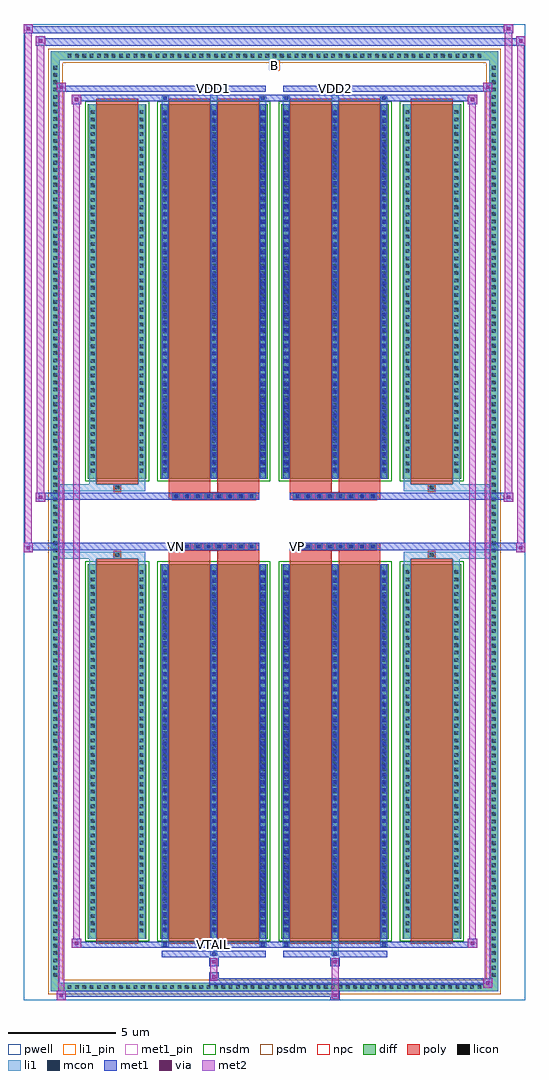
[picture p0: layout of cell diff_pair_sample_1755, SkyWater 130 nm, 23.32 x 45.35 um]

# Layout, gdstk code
import gdstk
lib = gdstk.Library(unit=1e-6, precision=5e-09)
def R(c, l, rs):  # rectangles x0, y0, x1, y1
    for r in rs: c.add(gdstk.rectangle(r[:2], r[2:], *l))
def A(c, l, x, y, w, h, nx, ny, dx, dy):  # array of equal rectangles
    R(c, l, [(x+i*dx, y+j*dy, x+i*dx+w, y+j*dy+h) for i in range(nx) for j in range(ny)])
def P(c, l, *ps):  # polygons
    for p in ps: c.add(gdstk.Polygon(p, *l))
pwell = (64, 44)
diff = (65, 20)
poly = (66, 20)
licon = (66, 44)
li1_pin = (67, 16)
li1 = (67, 20)
mcon = (67, 44)
met1_pin = (68, 16)
met1 = (68, 20)
via = (68, 44)
met2 = (69, 20)
nsdm = (93, 44)
psdm = (94, 20)
npc = (95, 20)

diff_pair_sample_1755 = lib.new_cell('diff_pair_sample_1755')
R(diff_pair_sample_1755, pwell, [(-11.66,-22.24,11.66,23.11), (-8.98,-20.43,-0.01,-0.805), (0.01,-20.43,8.98,-0.805), (-8.98,0.805,-0.01,20.43), (0.01,0.805,8.98,20.43)])
A(diff_pair_sample_1755, diff, -9.725, -21.84, 0.41, 0.41, 57, 2, 0.34, 43.27)
A(diff_pair_sample_1755, diff, -10.39, -21.285, 0.41, 0.41, 1, 125, 0, 0.34)
A(diff_pair_sample_1755, diff, 9.98, -21.285, 0.41, 0.41, 1, 125, 0, 0.34)
R(diff_pair_sample_1755, diff, [(-9.725,-21.84,9.725,-21.43), (-10.39,-21.285,-9.98,21.285), (9.98,-21.285,10.39,21.285), (-8.67,-19.385,-5.95,-1.985), (-5.31,-19.385,-0.32,-1.985), (0.32,-19.385,5.31,-1.985), (5.95,-19.385,8.67,-1.985), (-8.67,1.985,-5.95,19.385), (-5.31,1.985,-0.32,19.385), (0.32,1.985,5.31,19.385), (5.95,1.985,8.67,19.385), (-9.725,21.43,9.725,21.84)])
P(diff_pair_sample_1755, diff, [(10.39,21.84),(-10.39,21.84),(-10.39,-21.43),(-9.98,-21.43),(-9.98,21.43),(9.98,21.43),(9.98,-21.43),(-9.98,-21.43),(-10.39,-21.43),(-10.39,-21.84),(10.39,-21.84)])
A(diff_pair_sample_1755, poly, -4.73, -1.335, 0.33, 0.33, 8, 2, 0.5, 2.34)
A(diff_pair_sample_1755, poly, 0.9, -1.335, 0.33, 0.33, 8, 2, 0.5, 2.34)
R(diff_pair_sample_1755, poly, [(-8.28,-19.635,-6.34,-1.735), (-4.92,-19.635,-2.98,-1.735), (-2.65,-19.635,-0.71,-1.735), (0.71,-19.635,2.65,-1.735), (2.98,-19.635,4.92,-1.735), (6.34,-19.635,8.28,-1.735), (-7.475,-1.735,-7.145,-1.405), (-7.475,-1.735,-7.145,-1.405), (-4.92,-1.735,-2.98,-1.335), (-2.65,-1.735,-0.71,-1.335), (0.71,-1.735,2.65,-1.335), (2.98,-1.735,4.92,-1.335), (7.145,-1.735,7.475,-1.405), (7.145,-1.735,7.475,-1.405), (-4.92,-1.335,-0.71,-1.005), (0.71,-1.335,4.92,-1.005), (-4.92,1.005,-0.71,1.335), (0.71,1.005,4.92,1.335), (-4.92,1.335,-2.98,1.735), (-2.65,1.335,-0.71,1.735), (0.71,1.335,2.65,1.735), (2.98,1.335,4.92,1.735), (-7.475,1.405,-7.145,1.735), (-7.475,1.405,-7.145,1.735), (7.145,1.405,7.475,1.735), (7.145,1.405,7.475,1.735), (-8.28,1.735,-6.34,19.635), (-4.92,1.735,-2.98,19.635), (-2.65,1.735,-0.71,19.635), (0.71,1.735,2.65,19.635), (2.98,1.735,4.92,19.635), (6.34,1.735,8.28,19.635)])
A(diff_pair_sample_1755, licon, -9.605, -21.72, 0.17, 0.17, 57, 2, 0.34, 43.27)
A(diff_pair_sample_1755, licon, -10.27, -21.165, 0.17, 0.17, 1, 125, 0, 0.34)
A(diff_pair_sample_1755, licon, 10.1, -21.165, 0.17, 0.17, 1, 125, 0, 0.34)
A(diff_pair_sample_1755, licon, -8.53, -19.1, 0.17, 0.17, 1, 50, 0, 0.34)
A(diff_pair_sample_1755, licon, -6.26, -19.1, 0.17, 0.17, 1, 50, 0, 0.34)
A(diff_pair_sample_1755, licon, -5.17, -19.1, 0.17, 0.17, 3, 50, 2.27, 0.34)
A(diff_pair_sample_1755, licon, 0.46, -19.1, 0.17, 0.17, 3, 50, 2.27, 0.34)
A(diff_pair_sample_1755, licon, 6.09, -19.1, 0.17, 0.17, 1, 50, 0, 0.34)
A(diff_pair_sample_1755, licon, 8.36, -19.1, 0.17, 0.17, 1, 50, 0, 0.34)
A(diff_pair_sample_1755, licon, -4.65, -1.255, 0.17, 0.17, 8, 2, 0.5, 2.34)
A(diff_pair_sample_1755, licon, 0.98, -1.255, 0.17, 0.17, 8, 2, 0.5, 2.34)
A(diff_pair_sample_1755, licon, -8.53, 2.27, 0.17, 0.17, 1, 50, 0, 0.34)
A(diff_pair_sample_1755, licon, -6.26, 2.27, 0.17, 0.17, 1, 50, 0, 0.34)
A(diff_pair_sample_1755, licon, -5.17, 2.27, 0.17, 0.17, 3, 50, 2.27, 0.34)
A(diff_pair_sample_1755, licon, 0.46, 2.27, 0.17, 0.17, 3, 50, 2.27, 0.34)
A(diff_pair_sample_1755, licon, 6.09, 2.27, 0.17, 0.17, 1, 50, 0, 0.34)
A(diff_pair_sample_1755, licon, 8.36, 2.27, 0.17, 0.17, 1, 50, 0, 0.34)
R(diff_pair_sample_1755, licon, [(-7.395,-1.655,-7.225,-1.485), (7.225,-1.655,7.395,-1.485), (-7.395,1.485,-7.225,1.655), (7.225,1.485,7.395,1.655)])
R(diff_pair_sample_1755, li1_pin, [(-0.25,20.93,0.25,21.43)])
A(diff_pair_sample_1755, li1, -9.685, -21.8, 0.33, 0.33, 57, 2, 0.34, 43.27)
A(diff_pair_sample_1755, li1, -10.35, -21.245, 0.33, 0.33, 1, 125, 0, 0.34)
A(diff_pair_sample_1755, li1, 10.02, -21.245, 0.33, 0.33, 1, 125, 0, 0.34)
A(diff_pair_sample_1755, li1, -5.25, -19.385, 0.33, 17.4, 3, 2, 2.27, 21.37)
A(diff_pair_sample_1755, li1, 0.38, -19.385, 0.33, 17.4, 3, 2, 2.27, 21.37)
A(diff_pair_sample_1755, li1, -8.61, -19.18, 0.33, 0.33, 1, 50, 0, 0.34)
A(diff_pair_sample_1755, li1, -6.34, -19.18, 0.33, 0.33, 1, 50, 0, 0.34)
A(diff_pair_sample_1755, li1, -5.25, -19.18, 0.33, 0.33, 3, 50, 2.27, 0.34)
A(diff_pair_sample_1755, li1, 0.38, -19.18, 0.33, 0.33, 3, 50, 2.27, 0.34)
A(diff_pair_sample_1755, li1, 6.01, -19.18, 0.33, 0.33, 1, 50, 0, 0.34)
A(diff_pair_sample_1755, li1, 8.28, -19.18, 0.33, 0.33, 1, 50, 0, 0.34)
A(diff_pair_sample_1755, li1, -5.17, -19.05, 0.17, 0.17, 3, 47, 2.27, 0.36)
A(diff_pair_sample_1755, li1, -5.17, -19.05, 0.17, 16.73, 3, 2, 2.27, 21.37)
A(diff_pair_sample_1755, li1, 0.46, -19.05, 0.17, 0.17, 3, 47, 2.27, 0.36)
A(diff_pair_sample_1755, li1, 0.46, -19.05, 0.17, 16.73, 3, 2, 2.27, 21.37)
A(diff_pair_sample_1755, li1, -4.73, -1.335, 0.33, 0.33, 8, 2, 0.5, 2.34)
A(diff_pair_sample_1755, li1, 0.9, -1.335, 0.33, 0.33, 8, 2, 0.5, 2.34)
A(diff_pair_sample_1755, li1, -8.61, 2.19, 0.33, 0.33, 1, 50, 0, 0.34)
A(diff_pair_sample_1755, li1, -6.34, 2.19, 0.33, 0.33, 1, 50, 0, 0.34)
A(diff_pair_sample_1755, li1, -5.25, 2.19, 0.33, 0.33, 3, 50, 2.27, 0.34)
A(diff_pair_sample_1755, li1, 0.38, 2.19, 0.33, 0.33, 3, 50, 2.27, 0.34)
A(diff_pair_sample_1755, li1, 6.01, 2.19, 0.33, 0.33, 1, 50, 0, 0.34)
A(diff_pair_sample_1755, li1, 8.28, 2.19, 0.33, 0.33, 1, 50, 0, 0.34)
A(diff_pair_sample_1755, li1, -5.17, 2.32, 0.17, 0.17, 3, 47, 2.27, 0.36)
A(diff_pair_sample_1755, li1, 0.46, 2.32, 0.17, 0.17, 3, 47, 2.27, 0.36)
R(diff_pair_sample_1755, li1, [(-10.39,-21.84,-9.98,-21.43), (-10.39,-21.84,-9.98,-21.43), (-9.98,-21.84,9.98,-21.43), (9.98,-21.84,10.39,-21.43), (9.98,-21.84,10.39,-21.43), (-10.39,-21.43,-9.98,21.43), (9.98,-21.43,10.39,21.43), (-2.98,-20.19,-2.65,-19.385), (-2.9,-20.19,-2.73,-20.02), (2.65,-20.19,2.98,-19.385), (2.73,-20.19,2.9,-20.02), (-5.25,-19.76,-4.92,-19.385), (-5.17,-19.76,-5,-19.59), (-0.71,-19.76,-0.38,-19.385), (-0.63,-19.76,-0.46,-19.59), (0.38,-19.76,0.71,-19.385), (0.46,-19.76,0.63,-19.59), (4.92,-19.76,5.25,-19.385), (5,-19.76,5.17,-19.59), (-8.61,-19.385,-8.28,-1.985), (-6.34,-19.385,-6.01,-1.985), (6.01,-19.385,6.34,-1.985), (8.28,-19.385,8.61,-1.985), (-8.61,-1.985,-8.28,-1.405), (-6.34,-1.985,-6.01,-1.405), (6.01,-1.985,6.34,-1.405), (8.28,-1.985,8.61,-1.405), (-10.39,-1.735,-7.475,-1.405), (-8.61,-1.735,-7.475,-1.405), (-7.475,-1.735,-7.145,-1.405), (-7.145,-1.735,-6.01,-1.405), (6.01,-1.735,7.145,-1.405), (7.145,-1.735,7.475,-1.405), (7.145,-1.735,10.39,-1.405), (7.475,-1.735,8.61,-1.405), (-10.39,1.405,-7.475,1.735), (-8.61,1.405,-7.475,1.735), (-8.61,1.405,-8.28,1.985), (-7.475,1.405,-7.145,1.735), (-7.145,1.405,-6.01,1.735), (-6.34,1.405,-6.01,1.985), (6.01,1.405,7.145,1.735), (6.01,1.405,6.34,1.985), (7.145,1.405,7.475,1.735), (7.145,1.405,10.39,1.735), (7.475,1.405,8.61,1.735), (8.28,1.405,8.61,1.985), (-8.61,1.985,-8.28,19.385), (-6.34,1.985,-6.01,19.385), (6.01,1.985,6.34,19.385), (8.28,1.985,8.61,19.385), (-5.25,19.385,-4.92,19.76), (-2.98,19.385,-2.65,20.19), (-0.71,19.385,-0.38,19.76), (0.38,19.385,0.71,19.76), (2.65,19.385,2.98,20.19), (4.92,19.385,5.25,19.76), (-5.17,19.59,-5,19.76), (-0.63,19.59,-0.46,19.76), (0.46,19.59,0.63,19.76), (5,19.59,5.17,19.76), (-2.9,20.02,-2.73,20.19), (2.73,20.02,2.9,20.19), (-10.39,21.43,-9.98,21.84), (-10.39,21.43,-9.98,21.84), (-9.98,21.43,9.98,21.84), (9.98,21.43,10.39,21.84), (9.98,21.43,10.39,21.84)])
A(diff_pair_sample_1755, mcon, -5.17, -19.05, 0.17, 0.17, 3, 47, 2.27, 0.36)
A(diff_pair_sample_1755, mcon, 0.46, -19.05, 0.17, 0.17, 3, 47, 2.27, 0.36)
A(diff_pair_sample_1755, mcon, -4.65, -1.255, 0.17, 0.17, 8, 2, 0.5, 2.34)
A(diff_pair_sample_1755, mcon, 0.98, -1.255, 0.17, 0.17, 8, 2, 0.5, 2.34)
A(diff_pair_sample_1755, mcon, -5.17, 2.32, 0.17, 0.17, 3, 47, 2.27, 0.36)
A(diff_pair_sample_1755, mcon, 0.46, 2.32, 0.17, 0.17, 3, 47, 2.27, 0.36)
R(diff_pair_sample_1755, mcon, [(-2.9,-20.19,-2.73,-20.02), (2.73,-20.19,2.9,-20.02), (-5.17,-19.76,-5,-19.59), (-0.63,-19.76,-0.46,-19.59), (0.46,-19.76,0.63,-19.59), (5,-19.76,5.17,-19.59), (-5.17,19.59,-5,19.76), (-0.63,19.59,-0.46,19.76), (0.46,19.59,0.63,19.76), (5,19.59,5.17,19.76), (-2.9,20.02,-2.73,20.19), (2.73,20.02,2.9,20.19)])
R(diff_pair_sample_1755, met1_pin, [(-2.95,-19.8,-2.68,-19.53), (-4.7,-1.295,-4.43,-1.025), (0.93,-1.295,1.2,-1.025), (-2.95,19.98,-2.68,20.25), (2.68,19.98,2.95,20.25)])
A(diff_pair_sample_1755, met1, -5.23, -19.385, 0.29, 17.4, 3, 2, 2.27, 21.37)
A(diff_pair_sample_1755, met1, 0.4, -19.385, 0.29, 17.4, 3, 2, 2.27, 21.37)
A(diff_pair_sample_1755, met1, -5.23, -19.11, 0.29, 0.29, 3, 47, 2.27, 0.36)
A(diff_pair_sample_1755, met1, 0.4, -19.11, 0.29, 0.29, 3, 47, 2.27, 0.36)
A(diff_pair_sample_1755, met1, -4.71, -1.315, 0.29, 0.29, 8, 2, 0.5, 2.34)
A(diff_pair_sample_1755, met1, 0.92, -1.315, 0.29, 0.29, 8, 2, 0.5, 2.34)
A(diff_pair_sample_1755, met1, -5.23, 2.26, 0.29, 0.29, 3, 47, 2.27, 0.36)
A(diff_pair_sample_1755, met1, 0.4, 2.26, 0.29, 0.29, 3, 47, 2.27, 0.36)
R(diff_pair_sample_1755, met1, [(-10.12,-22.24,-9.69,-21.81), (2.6,-22.24,3.03,-21.81), (-10.12,-22.1,3.03,-21.81), (9.69,-21.67,10.12,-21.24), (-3.03,-21.53,10.12,-21.24), (-3.03,-21.39,-2.6,-20.96), (-3.03,-20.68,-2.6,-20.25), (2.6,-20.68,3.03,-20.25), (-5.23,-20.25,-0.4,-19.96), (-2.96,-20.25,-2.67,-19.96), (0.4,-20.25,5.23,-19.96), (2.67,-20.25,2.96,-19.96), (-9.41,-19.82,-8.98,-19.39), (-9.41,-19.82,-5.23,-19.53), (-5.23,-19.82,-4.94,-19.53), (-5.23,-19.82,-0.4,-19.53), (-0.69,-19.82,-0.4,-19.53), (-0.4,-19.82,0.4,-19.53), (0.4,-19.82,0.69,-19.53), (0.4,-19.82,5.23,-19.53), (4.94,-19.82,5.23,-19.53), (5.23,-19.82,9.41,-19.53), (8.98,-19.82,9.41,-19.39), (-11.66,-1.435,-11.23,-1.005), (11.23,-1.435,11.66,-1.005), (-11.66,-1.335,-0.71,-1.005), (-4.92,-1.335,-0.71,-1.005), (0.71,-1.335,4.92,-1.005), (0.71,-1.335,11.66,-1.005), (-11.09,0.905,-10.66,1.335), (10.66,0.905,11.09,1.335), (-11.09,1.005,-4.92,1.335), (-4.92,1.005,-0.71,1.335), (0.71,1.005,4.92,1.335), (4.92,1.005,11.09,1.335), (-9.41,19.39,-8.98,19.82), (8.98,19.39,9.41,19.82), (-9.41,19.53,-5.23,19.82), (-5.23,19.53,-4.94,19.82), (-5.23,19.53,-0.4,19.82), (-0.69,19.53,-0.4,19.82), (-0.4,19.53,0.4,19.82), (0.4,19.53,0.69,19.82), (0.4,19.53,5.23,19.82), (4.94,19.53,5.23,19.82), (5.23,19.53,9.41,19.82), (-10.12,19.96,-9.69,20.39), (-10.12,19.96,-5.23,20.25), (-5.23,19.96,-0.4,20.25), (-2.96,19.96,-2.67,20.25), (0.4,19.96,5.23,20.25), (2.67,19.96,2.96,20.25), (5.23,19.96,10.12,20.25), (9.69,19.96,10.12,20.39), (-11.09,22.11,-10.66,22.54), (-11.09,22.11,-8.98,22.44), (-8.98,22.11,8.98,22.44), (8.98,22.11,11.66,22.44), (11.23,22.11,11.66,22.54), (-11.66,22.68,-11.23,23.11), (-11.66,22.68,-8.98,23.01), (-8.98,22.68,8.98,23.01), (8.98,22.68,11.09,23.01), (10.66,22.68,11.09,23.11)])
R(diff_pair_sample_1755, via, [(-9.98,-22.1,-9.83,-21.95), (2.74,-22.1,2.89,-21.95), (9.83,-21.53,9.98,-21.38), (-2.89,-21.25,-2.74,-21.1), (-2.89,-20.54,-2.74,-20.39), (2.74,-20.54,2.89,-20.39), (-9.27,-19.68,-9.12,-19.53), (9.12,-19.68,9.27,-19.53), (-11.52,-1.295,-11.37,-1.145), (11.37,-1.295,11.52,-1.145), (-10.95,1.045,-10.8,1.195), (10.8,1.045,10.95,1.195), (-9.27,19.53,-9.12,19.68), (9.12,19.53,9.27,19.68), (-9.98,20.1,-9.83,20.25), (9.83,20.1,9.98,20.25), (-10.95,22.25,-10.8,22.4), (11.37,22.25,11.52,22.4), (-11.52,22.82,-11.37,22.97), (10.8,22.82,10.95,22.97)])
R(diff_pair_sample_1755, met2, [(-10.12,-22.24,-9.69,-21.81), (-10.05,-22.24,-9.76,20.39), (-9.76,-22.24,-9.69,-21.81), (-10.07,-22.19,-9.74,-21.86), (2.65,-22.19,2.98,-21.86), (2.65,-21.86,2.98,-20.63), (9.69,-21.67,10.12,-21.24), (9.76,-21.67,10.05,20.39), (10.05,-21.67,10.12,-21.24), (9.74,-21.62,10.07,-21.29), (-2.98,-21.34,-2.65,-21.01), (-2.98,-21.01,-2.65,-20.63), (-2.98,-20.63,-2.65,-20.3), (2.65,-20.63,2.98,-20.3), (-9.41,-19.82,-8.98,-19.39), (-9.34,-19.82,-9.05,19.82), (-9.05,-19.82,-8.98,-19.39), (8.98,-19.82,9.41,-19.39), (9.05,-19.82,9.34,19.82), (9.34,-19.82,9.41,-19.39), (-9.36,-19.77,-9.03,-19.44), (9.03,-19.77,9.36,-19.44), (-11.66,-1.435,-11.23,-1.005), (-11.61,-1.435,-11.28,23.11), (-11.28,-1.435,-11.23,-1.005), (11.23,-1.435,11.66,-1.005), (11.28,-1.435,11.61,22.54), (11.61,-1.435,11.66,-1.005), (-11.61,-1.385,-11.28,-1.055), (11.28,-1.385,11.61,-1.055), (-11.09,0.905,-10.66,1.335), (-11.04,0.905,-10.71,22.54), (-10.71,0.905,-10.66,1.335), (10.66,0.905,11.09,1.335), (10.71,0.905,11.04,23.11), (11.04,0.905,11.09,1.335), (-11.04,0.955,-10.71,1.285), (10.71,0.955,11.04,1.285), (-9.41,19.39,-8.98,19.82), (-9.05,19.39,-8.98,19.82), (8.98,19.39,9.41,19.82), (9.34,19.39,9.41,19.82), (-9.36,19.44,-9.03,19.77), (9.03,19.44,9.36,19.77), (-10.12,19.96,-9.69,20.39), (-9.76,19.96,-9.69,20.39), (9.69,19.96,10.12,20.39), (10.05,19.96,10.12,20.39), (-10.07,20.01,-9.74,20.34), (9.74,20.01,10.07,20.34), (-11.09,22.11,-10.66,22.54), (-10.71,22.11,-10.66,22.54), (11.23,22.11,11.66,22.54), (11.61,22.11,11.66,22.54), (-11.04,22.16,-10.71,22.49), (11.28,22.16,11.61,22.49), (-11.66,22.68,-11.23,23.11), (-11.28,22.68,-11.23,23.11), (10.66,22.68,11.09,23.11), (11.04,22.68,11.09,23.11), (-11.61,22.73,-11.28,23.06), (10.71,22.73,11.04,23.06)])
R(diff_pair_sample_1755, nsdm, [(-8.8,-19.515,-5.82,-1.855), (-5.44,-19.515,-0.19,-1.855), (0.19,-19.515,5.44,-1.855), (5.82,-19.515,8.8,-1.855), (-8.8,1.855,-5.82,19.515), (-5.44,1.855,-0.19,19.515), (0.19,1.855,5.44,19.515), (5.82,1.855,8.8,19.515)])
P(diff_pair_sample_1755, psdm, [(10.52,21.97),(-10.52,21.97),(-10.52,-21.3),(-9.85,-21.3),(-9.85,21.3),(9.85,21.3),(9.85,-21.3),(-9.85,-21.3),(-10.52,-21.3),(-10.52,-21.97),(10.52,-21.97)])
A(diff_pair_sample_1755, npc, -4.75, -1.355, 0.37, 0.37, 8, 2, 0.5, 2.34)
A(diff_pair_sample_1755, npc, 0.88, -1.355, 0.37, 0.37, 8, 2, 0.5, 2.34)
R(diff_pair_sample_1755, npc, [(-7.495,-1.755,-7.125,-1.385), (7.125,-1.755,7.495,-1.385), (-4.75,-1.355,-3.88,-0.985), (-4.75,-1.355,-3.88,-0.985), (-4.25,-1.355,-3.38,-0.985), (-4.25,-1.355,-3.38,-0.985), (-3.75,-1.355,-2.88,-0.985), (-3.75,-1.355,-2.88,-0.985), (-3.25,-1.355,-2.38,-0.985), (-3.25,-1.355,-2.38,-0.985), (-2.75,-1.355,-1.88,-0.985), (-2.75,-1.355,-1.88,-0.985), (-2.25,-1.355,-1.38,-0.985), (-2.25,-1.355,-1.38,-0.985), (-1.75,-1.355,-0.88,-0.985), (-1.75,-1.355,-0.88,-0.985), (0.88,-1.355,1.75,-0.985), (0.88,-1.355,1.75,-0.985), (1.38,-1.355,2.25,-0.985), (1.38,-1.355,2.25,-0.985), (1.88,-1.355,2.75,-0.985), (1.88,-1.355,2.75,-0.985), (2.38,-1.355,3.25,-0.985), (2.38,-1.355,3.25,-0.985), (2.88,-1.355,3.75,-0.985), (2.88,-1.355,3.75,-0.985), (3.38,-1.355,4.25,-0.985), (3.38,-1.355,4.25,-0.985), (3.88,-1.355,4.75,-0.985), (3.88,-1.355,4.75,-0.985), (-4.75,0.985,-3.88,1.355), (-4.75,0.985,-3.88,1.355), (-4.25,0.985,-3.38,1.355), (-4.25,0.985,-3.38,1.355), (-3.75,0.985,-2.88,1.355), (-3.75,0.985,-2.88,1.355), (-3.25,0.985,-2.38,1.355), (-3.25,0.985,-2.38,1.355), (-2.75,0.985,-1.88,1.355), (-2.75,0.985,-1.88,1.355), (-2.25,0.985,-1.38,1.355), (-2.25,0.985,-1.38,1.355), (-1.75,0.985,-0.88,1.355), (-1.75,0.985,-0.88,1.355), (0.88,0.985,1.75,1.355), (0.88,0.985,1.75,1.355), (1.38,0.985,2.25,1.355), (1.38,0.985,2.25,1.355), (1.88,0.985,2.75,1.355), (1.88,0.985,2.75,1.355), (2.38,0.985,3.25,1.355), (2.38,0.985,3.25,1.355), (2.88,0.985,3.75,1.355), (2.88,0.985,3.75,1.355), (3.38,0.985,4.25,1.355), (3.38,0.985,4.25,1.355), (3.88,0.985,4.75,1.355), (3.88,0.985,4.75,1.355), (-7.495,1.385,-7.125,1.755), (7.125,1.385,7.495,1.755)])
diff_pair_sample_1755.add(gdstk.Label('VTAIL', (-2.815,-19.665), layer=68, texttype=5))
diff_pair_sample_1755.add(gdstk.Label('VN', (-4.565,-1.16), layer=68, texttype=5))
diff_pair_sample_1755.add(gdstk.Label('VP', (1.065,-1.16), layer=68, texttype=5))
diff_pair_sample_1755.add(gdstk.Label('B', (0,21.18), layer=67, texttype=5))
diff_pair_sample_1755.add(gdstk.Label('VDD2', (2.815,20.115), layer=68, texttype=5))
diff_pair_sample_1755.add(gdstk.Label('VDD1', (-2.815,20.115), layer=68, texttype=5))

lib.write_gds('diff_pair_sample_1755.gds')
